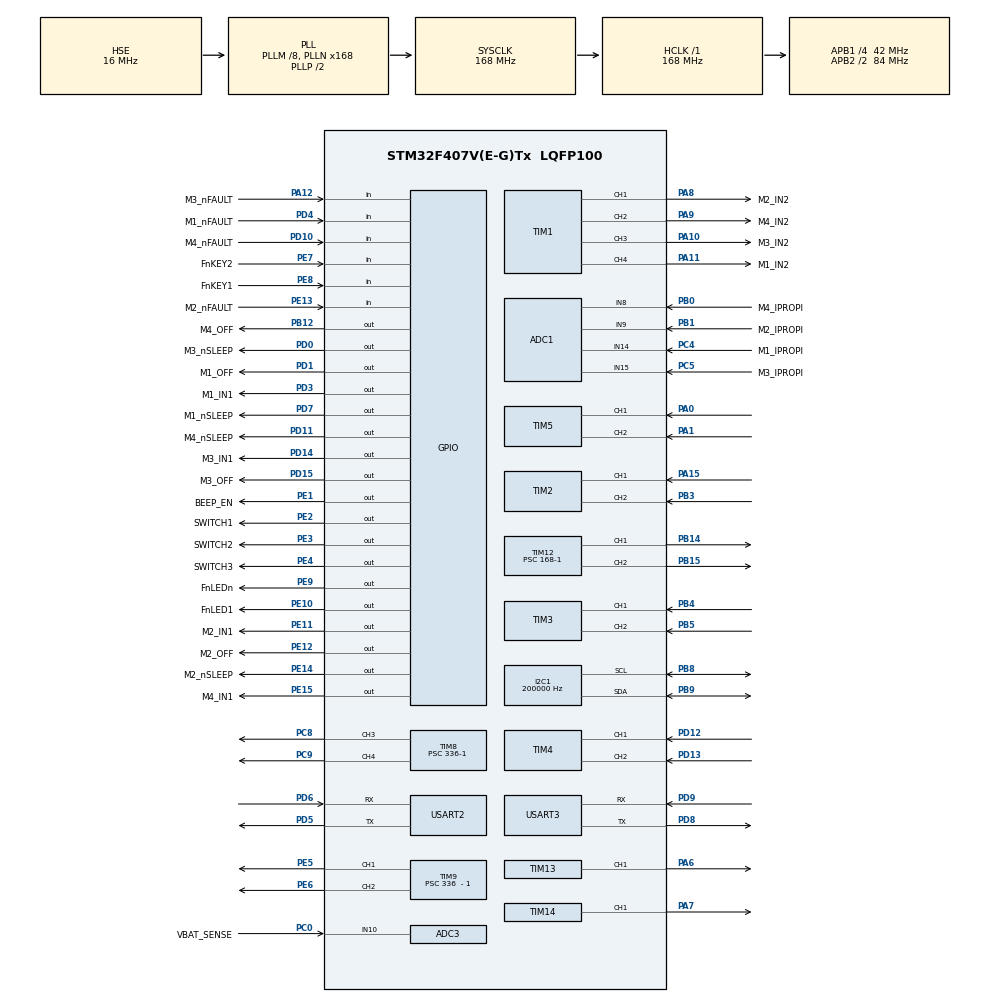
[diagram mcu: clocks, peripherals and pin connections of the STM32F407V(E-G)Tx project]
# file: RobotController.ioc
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ADC1.Channel-0\#ChannelRegularConversion=ADC_CHANNEL_14
ADC1.Channel-1\#ChannelRegularConversion=ADC_CHANNEL_9
ADC1.Channel-2\#ChannelRegularConversion=ADC_CHANNEL_15
ADC1.Channel-3\#ChannelRegularConversion=ADC_CHANNEL_8
ADC1.DiscontinuousConvMode=ENABLE
ADC1.EOCSelection=ADC_EOC_SINGLE_CONV
ADC1.NbrOfConversion=4
ADC1.NbrOfConversionFlag=1
ADC1.Rank-0\#ChannelRegularConversion=1
ADC1.Rank-1\#ChannelRegularConversion=2
ADC1.Rank-2\#ChannelRegularConversion=3
ADC1.Rank-3\#ChannelRegularConversion=4
ADC1.SamplingTime-0\#ChannelRegularConversion=ADC_SAMPLETIME_3CYCLES
ADC1.SamplingTime-1\#ChannelRegularConversion=ADC_SAMPLETIME_3CYCLES
ADC1.SamplingTime-2\#ChannelRegularConversion=ADC_SAMPLETIME_3CYCLES
ADC1.SamplingTime-3\#ChannelRegularConversion=ADC_SAMPLETIME_3CYCLES
ADC1.master=1
ADC3.Channel-0\#ChannelRegularConversion=ADC_CHANNEL_10
ADC3.NbrOfConversionFlag=1
ADC3.Rank-0\#ChannelRegularConversion=1
ADC3.SamplingTime-0\#ChannelRegularConversion=ADC_SAMPLETIME_3CYCLES
I2C1.ClockSpeed=200000
I2C1.I2C_Mode=I2C_Fast
I2C1.NoStretchMode=I2C_NOSTRETCH_DISABLE
I2C1.OwnAddress=0x18
Mcu.Family=STM32F4
Mcu.Name=STM32F407V(E-G)Tx
Mcu.Package=LQFP100
Mcu.UserConstants=TIM_MOTOR_PWM_DUTY_LIMIT,MOTOR_PWM_DUTY_LIMIT;TIM_MOTOR_TIM_ENCOER_ARR,MOTOR_TIM_ENCODER_ARR;TIM_SERVO_PWM_DUTY_LIMIT,SERVO_PWM_DUTY_LIMIT
NVIC.PriorityGroup=NVIC_PRIORITYGROUP_3
NVIC.TIM2_IRQn=true\:3\:0\:true\:false\:true\:true\:true\:true
NVIC.TIM3_IRQn=true\:3\:0\:true\:false\:true\:true\:true\:true
NVIC.TIM4_IRQn=true\:3\:0\:true\:false\:true\:true\:true\:true
NVIC.TIM5_IRQn=true\:3\:0\:true\:false\:true\:true\:true\:true
NVIC.TIM6_DAC_IRQn=true\:5\:0\:true\:false\:true\:true\:true\:true
NVIC.TIM7_IRQn=true\:7\:1\:true\:false\:true\:true\:true\:true
NVIC.USART2_IRQn=true\:0\:0\:false\:false\:true\:true\:true\:true
NVIC.USART3_IRQn=true\:4\:0\:true\:false\:true\:true\:true\:true
PA0-WKUP.GPIO_ModeDefaultPP=GPIO_MODE_AF_PP
PA0-WKUP.GPIO_PuPd=GPIO_PULLUP
PA0-WKUP.GPIO_Speed=GPIO_SPEED_FREQ_LOW
PA0-WKUP.Signal=S_TIM5_CH1
PA1.GPIO_ModeDefaultPP=GPIO_MODE_AF_PP
PA1.GPIO_PuPd=GPIO_PULLUP
PA1.GPIO_Speed=GPIO_SPEED_FREQ_LOW
PA1.Signal=S_TIM5_CH2
PA10.GPIO_Label=M3_IN2
PA10.Signal=S_TIM1_CH3
PA11.GPIO_Label=M1_IN2
PA11.Signal=S_TIM1_CH4
PA12.GPIO_Label=M3_nFAULT
PA12.Signal=GPIO_Input
PA13.Mode=Serial_Wire
PA13.Signal=SYS_JTMS-SWDIO
PA14.Mode=Serial_Wire
PA14.Signal=SYS_JTCK-SWCLK
PA15.GPIO_PuPd=GPIO_PULLUP
PA15.Signal=S_TIM2_CH1_ETR
PA6.Signal=S_TIM13_CH1
PA7.Signal=S_TIM14_CH1
PA8.GPIO_Label=M2_IN2
PA8.Signal=S_TIM1_CH1
PA9.GPIO_Label=M4_IN2
PA9.Signal=S_TIM1_CH2
PB0.GPIO_Label=M4_IPROPI
PB0.Signal=ADCx_IN8
PB1.GPIO_Label=M2_IPROPI
PB1.Signal=ADCx_IN9
PB12.GPIO_Label=M4_OFF
PB12.Signal=GPIO_Output
PB14.Signal=S_TIM12_CH1
PB15.Signal=S_TIM12_CH2
PB3.GPIO_PuPd=GPIO_PULLUP
PB3.Signal=S_TIM2_CH2
PB4.GPIO_PuPd=GPIO_PULLUP
PB4.Signal=S_TIM3_CH1
PB5.GPIO_PuPd=GPIO_PULLUP
PB5.Signal=S_TIM3_CH2
PB8.Mode=I2C
PB8.Signal=I2C1_SCL
PB9.Mode=I2C
PB9.Signal=I2C1_SDA
PC0.GPIO_Label=VBAT_SENSE
PC0.Signal=ADCx_IN10
PC14-OSC32_IN.Mode=LSE-External-Oscillator
PC14-OSC32_IN.Signal=RCC_OSC32_IN
PC15-OSC32_OUT.Mode=LSE-External-Oscillator
PC15-OSC32_OUT.Signal=RCC_OSC32_OUT
PC4.GPIO_Label=M1_IPROPI
PC4.Signal=ADCx_IN14
PC5.GPIO_Label=M3_IPROPI
PC5.Signal=ADCx_IN15
PC8.Signal=S_TIM8_CH3
PC9.Signal=S_TIM8_CH4
PD0.GPIO_Label=M3_nSLEEP
PD0.Signal=GPIO_Output
PD1.GPIO_Label=M1_OFF
PD1.Signal=GPIO_Output
PD10.GPIO_Label=M4_nFAULT
PD10.Signal=GPIO_Input
PD11.GPIO_Label=M4_nSLEEP
PD11.Signal=GPIO_Output
PD12.GPIO_PuPd=GPIO_PULLUP
PD12.Signal=S_TIM4_CH1
PD13.GPIO_PuPd=GPIO_PULLUP
PD13.Signal=S_TIM4_CH2
PD14.GPIO_Label=M3_IN1
PD14.Signal=GPIO_Output
PD15.GPIO_Label=M3_OFF
PD15.Signal=GPIO_Output
PD3.GPIO_Label=M1_IN1
PD3.Signal=GPIO_Output
PD4.GPIO_Label=M1_nFAULT
PD4.Signal=GPIO_Input
PD5.Mode=Asynchronous
PD5.Signal=USART2_TX
PD6.Mode=Asynchronous
PD6.Signal=USART2_RX
PD7.GPIO_Label=M1_nSLEEP
PD7.Signal=GPIO_Output
PD8.Mode=Asynchronous
PD8.Signal=USART3_TX
PD9.Mode=Asynchronous
PD9.Signal=USART3_RX
PE1.GPIO_Label=BEEP_EN
PE1.GPIO_ModeDefaultOutputPP=GPIO_MODE_OUTPUT_PP
PE1.Signal=GPIO_Output
PE10.GPIO_Label=FnLED1
PE10.GPIO_ModeDefaultOutputPP=GPIO_MODE_OUTPUT_OD
PE10.GPIO_Speed=GPIO_SPEED_FREQ_LOW
PE10.PinState=GPIO_PIN_SET
PE10.Signal=GPIO_Output
PE11.GPIO_Label=M2_IN1
PE11.Signal=GPIO_Output
PE12.GPIO_Label=M2_OFF
PE12.Signal=GPIO_Output
PE13.GPIO_Label=M2_nFAULT
PE13.Signal=GPIO_Input
PE14.GPIO_Label=M2_nSLEEP
PE14.Signal=GPIO_Output
PE15.GPIO_Label=M4_IN1
PE15.Signal=GPIO_Output
PE2.GPIO_Label=SWITCH1
PE2.Signal=GPIO_Output
PE3.GPIO_Label=SWITCH2
PE3.Signal=GPIO_Output
PE4.GPIO_Label=SWITCH3
PE4.Signal=GPIO_Output
PE5.Signal=S_TIM9_CH1
PE6.Signal=S_TIM9_CH2
PE7.GPIO_Label=FnKEY2
PE7.GPIO_PuPd=GPIO_PULLUP
PE7.Signal=GPIO_Input
PE8.GPIO_Label=FnKEY1
PE8.GPIO_PuPd=GPIO_PULLUP
PE8.Signal=GPIO_Input
PE9.GPIO_Label=FnLEDn
PE9.GPIO_ModeDefaultOutputPP=GPIO_MODE_OUTPUT_PP
PE9.GPIO_PuPd=GPIO_NOPULL
PE9.PinState=GPIO_PIN_RESET
PE9.Signal=GPIO_Output
PH0-OSC_IN.Mode=HSE-External-Oscillator
PH0-OSC_IN.Signal=RCC_OSC_IN
PH1-OSC_OUT.Mode=HSE-External-Oscillator
PH1-OSC_OUT.Signal=RCC_OSC_OUT
ProjectManager.HeapSize=0x200
ProjectManager.StackSize=0x400
ProjectManager.TargetToolchain=MDK-ARM V5.32
RCC.48MHZClocksFreq_Value=84000000
RCC.AHBFreq_Value=168000000
RCC.APB1CLKDivider=RCC_HCLK_DIV4
RCC.APB1Freq_Value=42000000
RCC.APB1TimFreq_Value=84000000
RCC.APB2CLKDivider=RCC_HCLK_DIV2
RCC.APB2Freq_Value=84000000
RCC.APB2TimFreq_Value=168000000
RCC.CodegenConfigPeriph=true
RCC.CortexFreq_Value=168000000
RCC.HCLKFreq_Value=168000000
RCC.HSE_VALUE=16000000
RCC.HSI_VALUE=16000000
RCC.PLLM=8
RCC.PLLN=168
RCC.PLLSourceVirtual=RCC_PLLSOURCE_HSE
RCC.SYSCLKFreq_VALUE=168000000
RCC.SYSCLKSource=RCC_SYSCLKSOURCE_PLLCLK
RCC.VCOOutputFreq_Value=336000000
SH.ADCx_IN10.0=ADC3_IN10,IN10
SH.ADCx_IN14.0=ADC1_IN14,IN14
SH.ADCx_IN15.0=ADC1_IN15,IN15
SH.ADCx_IN8.0=ADC1_IN8,IN8
SH.ADCx_IN9.0=ADC1_IN9,IN9
SH.S_TIM12_CH1.0=TIM12_CH1,PWM Generation1 CH1
SH.S_TIM12_CH2.0=TIM12_CH2,PWM Generation2 CH2
SH.S_TIM13_CH1.0=TIM13_CH1,PWM Generation1 CH1
SH.S_TIM14_CH1.0=TIM14_CH1,PWM Generation1 CH1
SH.S_TIM1_CH1.0=TIM1_CH1,PWM Generation1 CH1
SH.S_TIM1_CH2.0=TIM1_CH2,PWM Generation2 CH2
SH.S_TIM1_CH3.0=TIM1_CH3,PWM Generation3 CH3
SH.S_TIM1_CH4.0=TIM1_CH4,PWM Generation4 CH4
SH.S_TIM2_CH1_ETR.0=TIM2_CH1,Encoder_Interface
SH.S_TIM2_CH2.0=TIM2_CH2,Encoder_Interface
SH.S_TIM3_CH1.0=TIM3_CH1,Encoder_Interface
SH.S_TIM3_CH2.0=TIM3_CH2,Encoder_Interface
SH.S_TIM4_CH1.0=TIM4_CH1,Encoder_Interface
SH.S_TIM4_CH2.0=TIM4_CH2,Encoder_Interface
SH.S_TIM5_CH1.0=TIM5_CH1,Encoder_Interface
SH.S_TIM5_CH2.0=TIM5_CH2,Encoder_Interface
SH.S_TIM8_CH3.0=TIM8_CH3,PWM Generation3 CH3
SH.S_TIM8_CH4.0=TIM8_CH4,PWM Generation4 CH4
SH.S_TIM9_CH1.0=TIM9_CH1,PWM Generation1 CH1
SH.S_TIM9_CH2.0=TIM9_CH2,PWM Generation2 CH2
TIM1.Channel-PWM\ Generation1\ CH1=TIM_CHANNEL_1
TIM1.Channel-PWM\ Generation2\ CH2=TIM_CHANNEL_2
TIM1.Channel-PWM\ Generation3\ CH3=TIM_CHANNEL_3
TIM1.Channel-PWM\ Generation4\ CH4=TIM_CHANNEL_4
TIM1.Period=TIM_MOTOR_PWM_DUTY_LIMIT-1
TIM12.AutoReloadPreload=TIM_AUTORELOAD_PRELOAD_ENABLE
TIM12.Channel-PWM\ Generation1\ CH1=TIM_CHANNEL_1
TIM12.Channel-PWM\ Generation2\ CH2=TIM_CHANNEL_2
TIM12.Period=TIM_SERVO_PWM_DUTY_LIMIT-1
TIM12.Prescaler=168-1
TIM13.AutoReloadPreload=TIM_AUTORELOAD_PRELOAD_ENABLE
TIM13.Channel=TIM_CHANNEL_1
TIM13.Period=TIM_SERVO_PWM_DUTY_LIMIT-1
TIM13.Prescaler=168-1
TIM14.AutoReloadPreload=TIM_AUTORELOAD_PRELOAD_ENABLE
TIM14.Channel=TIM_CHANNEL_1
TIM14.Period=TIM_SERVO_PWM_DUTY_LIMIT-1
TIM14.Prescaler=168-1
TIM2.AutoReloadPreload=TIM_AUTORELOAD_PRELOAD_ENABLE
TIM2.EncoderMode=TIM_ENCODERMODE_TI12
TIM2.Period=TIM_MOTOR_TIM_ENCOER_ARR-1
TIM3.AutoReloadPreload=TIM_AUTORELOAD_PRELOAD_ENABLE
TIM3.EncoderMode=TIM_ENCODERMODE_TI12
TIM3.Period=TIM_MOTOR_TIM_ENCOER_ARR-1
TIM4.AutoReloadPreload=TIM_AUTORELOAD_PRELOAD_ENABLE
TIM4.EncoderMode=TIM_ENCODERMODE_TI12
TIM4.Period=TIM_MOTOR_TIM_ENCOER_ARR-1
TIM5.AutoReloadPreload=TIM_AUTORELOAD_PRELOAD_ENABLE
TIM5.EncoderMode=TIM_ENCODERMODE_TI12
TIM5.Period=TIM_MOTOR_TIM_ENCOER_ARR-1
TIM6.AutoReloadPreload=TIM_AUTORELOAD_PRELOAD_ENABLE
TIM6.Period=99
TIM6.Prescaler=8399
TIM7.AutoReloadPreload=TIM_AUTORELOAD_PRELOAD_ENABLE
TIM7.Period=199
TIM7.Prescaler=8399
TIM8.AutoReloadPreload=TIM_AUTORELOAD_PRELOAD_ENABLE
TIM8.Channel-PWM\ Generation3\ CH3=TIM_CHANNEL_3
TIM8.Channel-PWM\ Generation4\ CH4=TIM_CHANNEL_4
TIM8.Period=TIM_SERVO_PWM_DUTY_LIMIT-1
TIM8.Prescaler=336-1
TIM9.AutoReloadPreload=TIM_AUTORELOAD_PRELOAD_ENABLE
TIM9.Channel-PWM\ Generation1\ CH1=TIM_CHANNEL_1
TIM9.Channel-PWM\ Generation2\ CH2=TIM_CHANNEL_2
TIM9.Period=TIM_SERVO_PWM_DUTY_LIMIT-1
TIM9.Prescaler=336  - 1
USART2.VirtualMode=VM_ASYNC
USART3.VirtualMode=VM_ASYNC
VP_TIM12_VS_ClockSourceINT.Mode=Internal
VP_TIM13_VS_ClockSourceINT.Mode=Enable_Timer
VP_TIM14_VS_ClockSourceINT.Mode=Enable_Timer
VP_TIM1_VS_ClockSourceINT.Mode=Internal
VP_TIM6_VS_ClockSourceINT.Mode=Enable_Timer
VP_TIM7_VS_ClockSourceINT.Mode=Enable_Timer
VP_TIM8_VS_ClockSourceINT.Mode=Internal
VP_TIM9_VS_ClockSourceINT.Mode=Internal
board=custom

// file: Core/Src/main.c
/* USER CODE BEGIN Header */
/**
 ******************************************************************************
 * @file           : main.c
 * @brief          : Main program body
 ******************************************************************************
 * @attention
 *
 * <h2><center>&copy; Copyright (c) 2023 STMicroelectronics.
 * All rights reserved.</center></h2>
 *
 * This software component is licensed by ST under BSD 3-Clause license,
 * the "License"; You may not use this file except in compliance with the
 * License. You may obtain a copy of the License at:
 *                        opensource.org/licenses/BSD-3-Clause
 *
 ******************************************************************************
 */
/* USER CODE END Header */
#include "main.h"
#include "adc.h"
#include "i2c.h"
#include "tim.h"
#include "usart.h"
#include "gpio.h"
#include "stm32f4xx_hal_cortex.h"

/* USER CODE BEGIN Includes */
#include "motor_driver.h"
#include "motor_controller.h"
#include "keys.h"
#include "led.h"
#include "mpu6500dmp.h"
#include "amt1450_uart.h"
#include "ArmSolution.h"
#include "Stepper_Motor.h"
#include "stm32f4xx_it.h"
/* USER CODE END Includes */

void SystemClock_Config(void);

int main(void)
{
  /* USER CODE BEGIN 1 */
   int i = 0;
  /* USER CODE END 1 */

  /* MCU Configuration--------------------------------------------------------*/

  /* Reset of all peripherals, Initializes the Flash interface and the Systick. */
  HAL_Init();

  /* Configure the system clock */
  SystemClock_Config();
  HAL_NVIC_SetPriority(SysTick_IRQn, 1, 0);

  /* Initialize all configured peripherals */
  MX_GPIO_Init();
  MX_ADC1_Init();
  MX_TIM1_Init();
  MX_TIM2_Init();
  MX_TIM3_Init();
  MX_TIM4_Init();
  MX_TIM5_Init();
  MX_TIM6_Init();
  MX_USART3_UART_Init();
  MX_TIM7_Init();
  MX_ADC3_Init();
  MX_I2C1_Init();
  MX_TIM8_Init();
  MX_TIM9_Init();
  MX_TIM12_Init();
  MX_TIM13_Init();
  MX_TIM14_Init();
  MX_USART2_UART_Init();
  /* USER CODE BEGIN 2 */

  MPU6500_DMP_Init(); // MPU6500加速度传感器初始化
  /* USER CODE END 2 */

  /* Infinite loop */
  /* USER CODE BEGIN WHILE */

  //===================电机启动================
  MotorDriver_Init();
  //一旦开启start后，就开始耗电了，一个电机大概120ma的电流（根据电机内阻情况）,MotorDriver_OFF才能关闭耗电。
  MotorDriver_Start(4, MOTOR_DRIVER_PWM_DUTY_LIMIT / 2);
  MotorDriver_Start(3, MOTOR_DRIVER_PWM_DUTY_LIMIT / 2);
  MotorDriver_Start(2, MOTOR_DRIVER_PWM_DUTY_LIMIT / 2);//左轮，Speed为负时前进
  MotorDriver_Start(1, MOTOR_DRIVER_PWM_DUTY_LIMIT / 2);//右轮，Speed为正时前进

  Encoder_Init();
  //==================电机转速控制器启动===============
  MotorController_Init();                // 初始化调速器
  MotorController_Enable(ENABLE);
  int nSpeed = 0; // 转速变量
  chassis.angle = 0;    // 假设底盘初始角度为0
  chassis.Radius = 295.0f; // 底盘中心到轮子的长度为295mm（0.295m）

  // 设置目标速度和方向
  float target_speed = 200.0f; // 目标速度：1.0 m/s
  float target_dir = 0.0f;     // 目标方向：0弧度（X轴正方向）
  float target_omega = pi / 6; // 目标旋转角速度：0（不旋转）

  //===================红外传感器启动===============
//  AMT1450_UART_Cmd(ENABLE);

  //=================led测试=================
  FnLED_SetRGB(FnLED2, 33, 0, 0, 1);
  uint8_t led_val = 0; // RGB变换中Green色数值变化变量
  HAL_Delay(500);      // 延迟500ms后关闭led2
  FnLED_OFF(FnLED2);

  //=================舵机控制测试=============
    ArmDriver_Init();
//	  Servo_init(3,90);
//	  Servo_init(4,90);
//	  Servo_init(5,90);
//	  Servo_init(6,90);
//	  Servo_init(7,90);
		HAL_Delay(10);
//  uint16_t servo_pwm = 0;
//  uint16_t cnt = 0;
    // 使能步进电机

  //=================步进电机控制测试=============
    Emm_V5_En_Control(1, 1, 0);
    HAL_Delay(10);  // 等待使能完成

    // 确保当前位置为零点
    Emm_V5_Reset_CurPos_To_Zero(1);
    HAL_Delay(10);  // 等待清零完成
//		chassis_move(50, 0, 0.0f);   //前
//		HAL_Delay(1000);
//		chassis_move(50, pi/2, 0.0f);  //左
//		HAL_Delay(1000);
//		chassis_move(50, - pi/2, 0.0f);  //右
//		HAL_Delay(1000);
//		chassis_move(50, pi, 0.0f);    //后
//		HAL_Delay(3000);
//		chassis_move(0, 0, 0.0f);
//	  Stepper_motor_goto_target_angle(3400);//第一层 200  第二层 1880  第三层 3400
//	  HAL_Delay(10000);
//		Stepper_motor_goto_target_angle(0);
//		SetServoAngle(3,60);//0-180  夹紧  60-110
//		SetServoAngle(4,85);//0-180 从下往上
//		SetServoAngle(5,90);//0-180 从下往上
//		SetServoAngle(6,180);//0-180 从下往上
//		SetServoAngle(7,90);//0-180  左往右
//		HAL_Delay(5000);
//		SetServoAngle(3,120);
//		Stepper_motor_goto_target_angle(0);
//	  HAL_Delay(100);
//		Stepper_motor_goto_target_angle(2000);
//	  HAL_Delay(1000);
//		Stepper_motor_goto_target_angle(3000);
//	  HAL_Delay(1000);
//	  Stepper_motor_goto_target_angle(1000);
//	  HAL_Delay(1000);
//		Stepper_motor_goto_target_angle(0);
//	  HAL_Delay(1000);
  while (1)
  {
    /* USER CODE END WHILE */
			switch(date)
									{
										case CMD_MOVE:
										{
											if(uart2Data.RxBuffer[2] == 'T')
											{
												chassis_move(0, 0, 0.0f);
											}else
											{
												float dir_move = (((uart2Data.RxBuffer[2] - '0')*100 + (uart2Data.RxBuffer[3] - '0')*10 + (uart2Data.RxBuffer[4] - '0')) - 180)/ 180.0f * pi;
												float speed_move = (uart2Data.RxBuffer[5] - '0')*100 + (uart2Data.RxBuffer[6] - '0')*10 + (uart2Data.RxBuffer[7] - '0');
												chassis_move(speed_move, dir_move, 0.0f);
												date = '4';
											}
											break;
										}

//										case CMD_HEADER:
//										{
//
//										}
//
//										case CMD_CORRECT:
//										{
//
//										}
//
										case CMD_ARM:
										{
											float angle_arm = (uart2Data.RxBuffer[2] - '0')*1000 + (uart2Data.RxBuffer[3] - '0')*100 + (uart2Data.RxBuffer[4] - '0')*10 + (uart2Data.RxBuffer[5] - '0');
													Stepper_motor_goto_target_angle(angle_arm);
											date = '4';
//											switch(uart2Data.RxBuffer[2])
//											{
//												case first_floor:
//												{Stepper_motor_goto_target_angle(200);break;}
//												case second_floor:
//												{Stepper_motor_goto_target_angle(1880);break;}
//												case third_floor:
//												{Stepper_motor_goto_target_angle(3400);break;}
											break;

										}

//										case CMD_REVOLVE:
//										{
//											SetServoAngle(3,90);
//											SetServoAngle(4,90);
//											SetServoAngle(5,90);
//											SetServoAngle(6,90);
//											SetServoAngle(7,90);
//											break;
//										}
//
										case CMD_STOP:
										{
											chassis_move(0.0f, 0.0f, 0.0f);
											break;
										}
//
										case CMD_GRAB:
										{

//												SetServoAngle(3,40);//0-180  夹紧
//												SetServoAngle(4,90);//0-180 从下往上
//												SetServoAngle(5,90);//0-180 从下往上
//												SetServoAngle(6,90);//0-180 从下往上
//												SetServoAngle(7,90);//0-180  右往左
//												HAL_Delay(5000);
													SetServoAngle(6,90);
													SetServoAngle(5,90);
													SetServoAngle(4,90);
													HAL_Delay(200);
													while(ServoTunnerOK() == 0){}
													chassis_move(30, 0, 0.0f);
													HAL_Delay(2000);
													chassis_move(0, 0, 0.0f);
													while(ServoTunnerOK() == 0){}
													HAL_Delay(1500);
													SetServoAngle(3,110);
													while(ServoTunnerOK() == 0){}
													//HAL_Delay(1000);
													SetServoAngle(5,120);
													SetServoAngle(4,60);
													chassis_move(30, pi, 0.0f);
													HAL_Delay(3000);

													SetServoAngle(5,90);
													SetServoAngle(4,90);
													chassis_move(0, 0, 0.0f);
													SetServoAngle(6,135);
													while(ServoTunnerOK() == 0){}
													SetServoAngle(4,0);
													while(ServoTunnerOK() == 0){}
													SetServoAngle(6,180);
													//while(ServoTunnerOK() == 0){}
													SetServoAngle(2,0);
													while(ServoTunnerOK() == 0){}
													SetServoAngle(3,60);
													while(ServoTunnerOK() == 0){}
													SetServoAngle(2,90);
													while(ServoTunnerOK() == 0){}
													SetServoAngle(4,80);
													chassis_move(30, 0, 0.0f);
													HAL_Delay(1000);
													chassis_move(0, 0, 0.0f);

//											  if(ServoTunnerOK())
//												{
//													SetServoAngle(6,90);
//												if(ServoTunnerOK())
//												{
//													SetServoAngle(3,110);
//												if(ServoTunnerOK())
//												{
//													SetServoAngle(6,160); //抬
//												}
//												}
//												}
		 										date = '4';
												break;
//												HAL_Delay(5000);
//												SetServoAngle(3,180);

										}
//
										case CMD_PUT:
										{

												SetServoAngle(6,60);
												date = '5';
												break;
										}
//
//										case CMD_TAIL:
//										{
//
//										}
//
									}

//	chassis_move(50,pi/3,0); //向左前方
//	HAL_Delay(2000);
//	chassis_move(50,-pi/4,0);//向右前方
//	HAL_Delay(2000);
//	chassis_move(50,-3*pi/4,0);
//	HAL_Delay(2000);
//	chassis_move(50,3*pi/4,0);
//	HAL_Delay(1500);
    /* USER CODE BEGIN 3 */

    //
    // 不断循环执行的代码块
    //
    //============================按键实现高度改变=====================
//    if (Key_Released(1) == 1)
//    {
//			Stepper_motor_goto_target_angle(3200+i);
//			HAL_Delay(100);
//			i = i + 10;
//    }
//    if (Key_Released(2) == 1)
//    {
//			Stepper_motor_goto_target_angle(0);
//			HAL_Delay(100);
//			i = 0;
//    }

    //===============LED测试程序---绿色渐变实现=============
    FnLED_SetRGB(FnLED3, 0, led_val, 0, 1);
    led_val += 1;
    if (led_val > 66)
      led_val = 0;
    HAL_Delay(7);

    //===================MPU6500测试（加速度传感器）===============
    /* 读取mpu6500数据，俯仰角数据在函数内部可以看 */
    Get_MPU6500_DMP_Data();

    //==================红外传感器数据采集========================
    //get_AMT1450Data_UART函数作用在函数内部说明。
//    get_AMT1450Data_UART(&begin, &jump, count);
//    if (jump == 2)
//      position = 0.5f * (count[0] + count[1]);
    //根据检测到的循迹线位置，显示不同的LED颜色。
//    if (position>72)
//    {
//      FnLED_SetRGB(FnLED2, 33, 0, 0, 1);
//    }else{
//      FnLED_SetRGB(FnLED2, 0, 0, 33, 1);
//    }
    //===================舵机控制测试=======================
//    servo_pwm += 5;
//    if (servo_pwm > 180)
//      servo_pwm = 0;
//    for (uint8_t i = 0; i < 8; i++)
//    {
//      SetServoAngle(i, servo_pwm);
//    }
	//===================灏忚溅=======================
//	if(cnt == 0){MotorController_SetSpeed(1, -200);MotorController_SetSpeed(2, 200);}
//	if(cnt == 10){MotorController_SetSpeed(1, 0);}//MotorController_SetSpeed(2, 200);右转
//	if(cnt <= 11 )cnt++;
    HAL_Delay(500);

}

  /* USER CODE END 3 */
}

void SystemClock_Config(void)
{
  RCC_OscInitTypeDef RCC_OscInitStruct = {0};
  RCC_ClkInitTypeDef RCC_ClkInitStruct = {0};

  /** Configure the main internal regulator output voltage
  */
  __HAL_RCC_PWR_CLK_ENABLE();
  __HAL_PWR_VOLTAGESCALING_CONFIG(PWR_REGULATOR_VOLTAGE_SCALE1);

  /** Initializes the RCC Oscillators according to the specified parameters
  * in the RCC_OscInitTypeDef structure.
  */
  RCC_OscInitStruct.OscillatorType = RCC_OSCILLATORTYPE_HSE;
  RCC_OscInitStruct.HSEState = RCC_HSE_ON;
  RCC_OscInitStruct.PLL.PLLState = RCC_PLL_ON;
  RCC_OscInitStruct.PLL.PLLSource = RCC_PLLSOURCE_HSE;
  RCC_OscInitStruct.PLL.PLLM = 8;
  RCC_OscInitStruct.PLL.PLLN = 168;
  RCC_OscInitStruct.PLL.PLLP = RCC_PLLP_DIV2;
  RCC_OscInitStruct.PLL.PLLQ = 4;
  if (HAL_RCC_OscConfig(&RCC_OscInitStruct) != HAL_OK)
  {
    Error_Handler();
  }

  /** Initializes the CPU, AHB and APB buses clocks
  */
  RCC_ClkInitStruct.ClockType = RCC_CLOCKTYPE_HCLK|RCC_CLOCKTYPE_SYSCLK
                              |RCC_CLOCKTYPE_PCLK1|RCC_CLOCKTYPE_PCLK2;
  RCC_ClkInitStruct.SYSCLKSource = RCC_SYSCLKSOURCE_PLLCLK;
  RCC_ClkInitStruct.AHBCLKDivider = RCC_SYSCLK_DIV1;
  RCC_ClkInitStruct.APB1CLKDivider = RCC_HCLK_DIV4;
  RCC_ClkInitStruct.APB2CLKDivider = RCC_HCLK_DIV2;

  if (HAL_RCC_ClockConfig(&RCC_ClkInitStruct, FLASH_LATENCY_5) != HAL_OK)
  {
    Error_Handler();
  }
}

void Error_Handler(void)
{
  __disable_irq();
  while (1)
  {
  }
}
